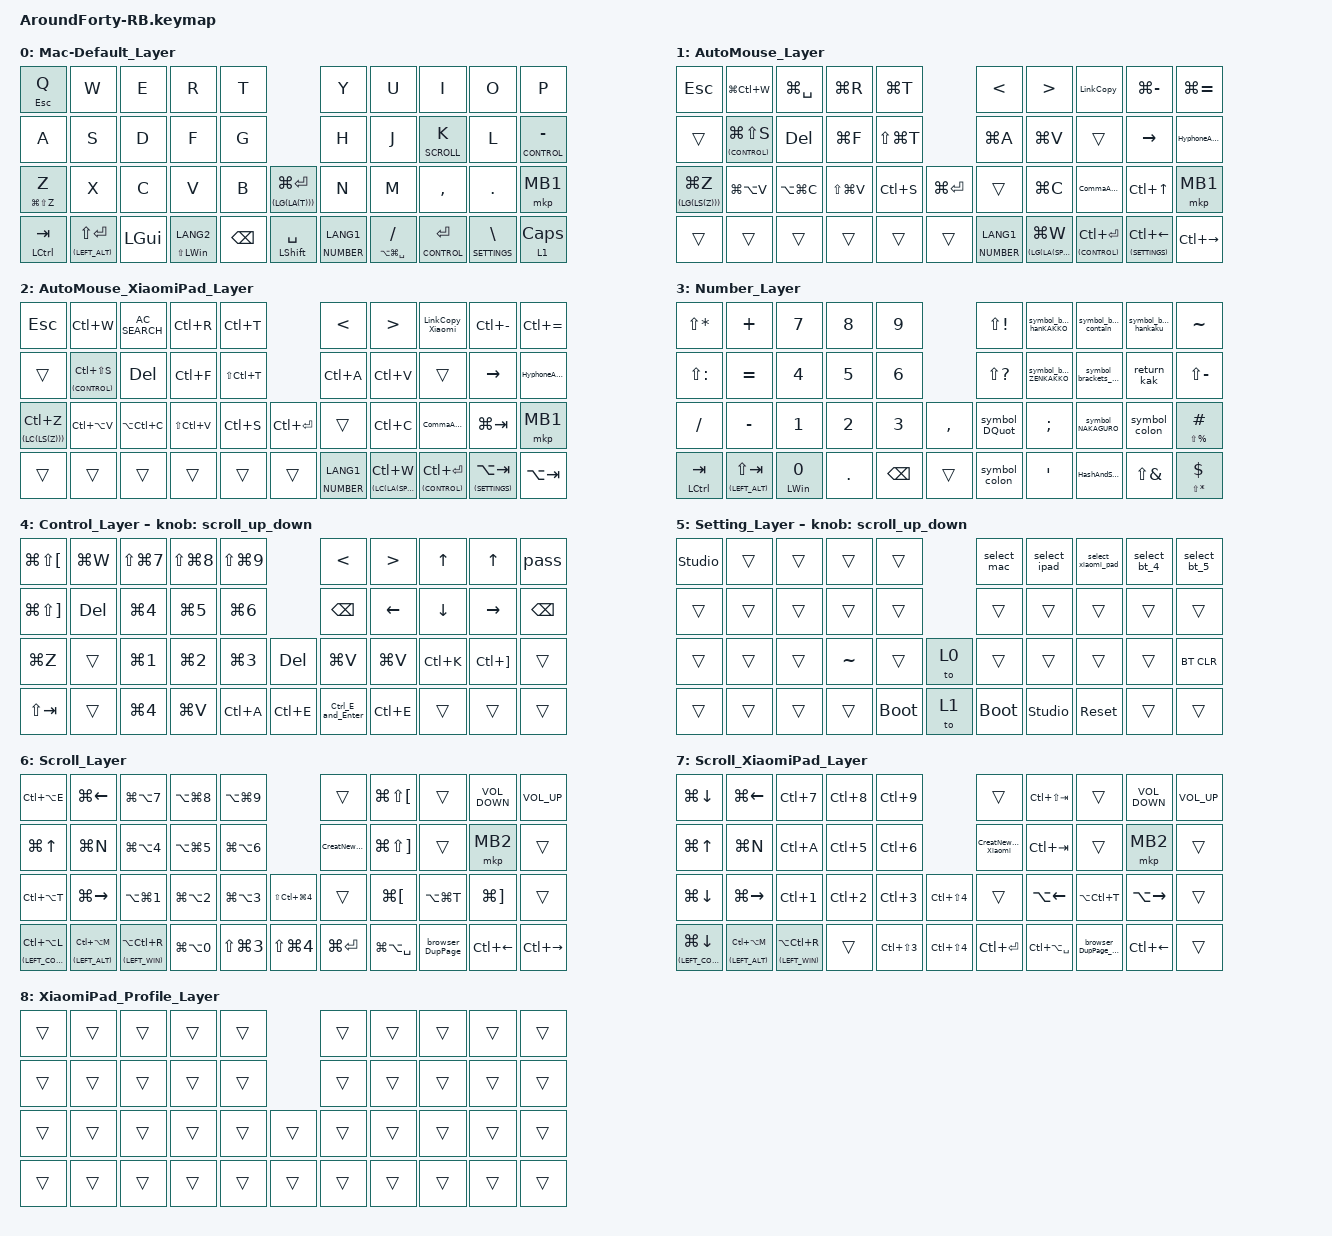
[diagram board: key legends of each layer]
#define ZMK_POINTING_DEFAULT_SCRL_VAL 100
#define MOUSE 6
#define MAC_DEFAULT 0
#define AML 1
#define AML_XIAOMI_PAD 2
#define NUMBER 3
#define CONTROL 4
#define SETTINGS 5
#define SCROLL 6
#define SCROLL_XIAOMI_PAD 7
#define XIAOMI_PAD_PROFILE 8

#include <behaviors/rgbled_widget.dtsi>
#include <dt-bindings/zmk/mouse.h>
#include <behaviors.dtsi>
#include <dt-bindings/zmk/bt.h>
#include <dt-bindings/zmk/keys.h>
#include <dt-bindings/zmk/pointing.h>

&mt {
    flavor = "balanced";
    quick-tap-ms = <0>;
};

/ {
    combos { compatible = "zmk,combos"; };

    conditional_layers {
        compatible = "zmk,conditional-layers";

        xiaomi_pad_aml {
            if-layers = <AML XIAOMI_PAD_PROFILE>;
            then-layer = <AML_XIAOMI_PAD>;
        };

        xiaomi_pad_scroll {
            if-layers = <SCROLL XIAOMI_PAD_PROFILE>;
            then-layer = <SCROLL_XIAOMI_PAD>;
        };
    };

    macros {
        select_mac: select_mac {
            compatible = "zmk,behavior-macro";
            #binding-cells = <0>;
            bindings = <&bt BT_SEL 0 &to MAC_DEFAULT>;
            label = "SELECT_MAC";
        };

        select_ipad: select_ipad {
            compatible = "zmk,behavior-macro";
            #binding-cells = <0>;
            bindings = <&bt BT_SEL 1 &to MAC_DEFAULT>;
            label = "SELECT_IPAD";
        };

        select_xiaomi_pad: select_xiaomi_pad {
            compatible = "zmk,behavior-macro";
            #binding-cells = <0>;
            bindings = <&bt BT_SEL 2 &to XIAOMI_PAD_PROFILE>;
            label = "SELECT_XIAOMI_PAD";
        };

        select_bt_4: select_bt_4 {
            compatible = "zmk,behavior-macro";
            #binding-cells = <0>;
            bindings = <&bt BT_SEL 3 &to MAC_DEFAULT>;
            label = "SELECT_BT_4";
        };

        select_bt_5: select_bt_5 {
            compatible = "zmk,behavior-macro";
            #binding-cells = <0>;
            bindings = <&bt BT_SEL 4 &to MAC_DEFAULT>;
            label = "SELECT_BT_5";
        };

        LinkCopy_Xiaomi: LinkCopy_Xiaomi {
            compatible = "zmk,behavior-macro";
            #binding-cells = <0>;
            bindings = <&kp LC(L) &kp LC(C) &kp ESCAPE>;
            label = "LINKCOPY_XIAOMI";
        };

        CreatNewTab_Xiaomi: CreatNewTab_Xiaomi {
            compatible = "zmk,behavior-macro";
            #binding-cells = <0>;
            bindings = <&kp LC(LA(L)) &kp LC(N) &kp LC(LA(M))>;
            label = "CREATNEWTAB_XIAOMI";
        };

        browser_DupPage_Xiaomi: browser_DupPage_Xiaomi {
            compatible = "zmk,behavior-macro";
            #binding-cells = <0>;
            bindings = <&kp LC(L) &kp LA(ENTER)>;
            label = "BROWSER_DUPPAGE_XIAOMI";
        };

        to_layer_0: to_layer_0 {
            compatible = "zmk,behavior-macro-one-param";
            #binding-cells = <1>;
            bindings = <&to 0 &macro_param_1to1 &kp MACRO_PLACEHOLDER>;
            label = "TO_LAYER_0";
        };

        pass: pass {
            compatible = "zmk,behavior-macro";
            #binding-cells = <0>;
            bindings = <&kp LG(A) &kp S &kp H &kp U &kp C &kp K &kp N1 &kp O &kp M &kp N2 &kp RET>;
            label = "PASS";
        };

        symbol_brackets_KAGI: brackets_KAGI {
            compatible = "zmk,behavior-macro";
            #binding-cells = <0>;
            bindings = <&kp LANGUAGE_1 &kp LEFT_BRACKET &kp RIGHT_BRACKET &kp ENTER &kp LEFT>;
            label = "BRACKETS_KAGI";
        };

        symbol_brackets_contain: brackets_contain {
            compatible = "zmk,behavior-macro";
            #binding-cells = <0>;
            bindings = <&kp LANG2 &kp LBRC &kp RBRC &kp LEFT>;
            label = "BRACKETS_CONTAIN";
        };

        symbol_brackets_ZENKAKKO: brackets_ZENKAKU {
            compatible = "zmk,behavior-macro";
            #binding-cells = <0>;
            bindings = <&kp LANGUAGE_1 &kp LPAR &kp RPAR &kp ENTER &kp LEFT>;
            label = "BRACKETS_ZENKAKU";
        };

        symbol_brackets_hanKAKKO: brackets_hankaku {
            compatible = "zmk,behavior-macro";
            #binding-cells = <0>;
            bindings = <&kp LANG2 &kp LPAR &kp RPAR &kp LEFT>;
            label = "BRACKETS_HANKAKU";
        };

        browser_DupPage: browser_DupPage {
            compatible = "zmk,behavior-macro";
            #binding-cells = <0>;
            bindings = <&kp LG(L) &kp LG(ENTER)>;
            label = "BROWSER_DUPPAGE";
        };

        symbol_DQuot: symbol_DQuot {
            compatible = "zmk,behavior-macro";
            #binding-cells = <0>;
            bindings = <&kp LANG2 &kp DOUBLE_QUOTES &kp DOUBLE_QUOTES &kp LEFT>;
            label = "SYMBOL_DQUOT";
        };

        symbol_NAKAGURO: symbol_NAKAGURO {
            compatible = "zmk,behavior-macro";
            #binding-cells = <0>;
            bindings = <&kp LANG1 &kp SLASH &kp ENTER>;
            label = "SYMBOL_NAKAGURO";
        };

        symbol_colon: symbol_colong {
            compatible = "zmk,behavior-macro";
            #binding-cells = <0>;
            bindings = <&kp LANG1 &kp COLON &kp ENTER>;
            label = "SYMBOL_COLONG";
        };

        LinkCopy: LinkCopy {
            compatible = "zmk,behavior-macro";
            #binding-cells = <0>;
            bindings = <&kp LG(L) &kp LG(C) &kp ESCAPE>;
            label = "LINKCOPY";
        };

        symbol_brackets_hankaku: symbol_backets_hankaku {
            compatible = "zmk,behavior-macro";
            #binding-cells = <0>;
            bindings = <&kp LANG2 &kp LEFT_BRACKET &kp RIGHT_BRACKET &kp LEFT>;
            label = "SYMBOL_BACKETS_HANKAKU";
        };

        symbol_BigKAKKO: symbol_BigKAKKO {
            compatible = "zmk,behavior-macro";
            #binding-cells = <0>;
            bindings = <&kp LANG1 &kp LEFT_BRACKET &kp RIGHT_BRACKET &kp SPACE &kp SPACE &kp RIGHT &kp SPACE &kp ENTER &kp ENTER &kp LEFT>;
            label = "SYMBOL_BIGKAKKO";
        };

        return_kak: return_kak {
            compatible = "zmk,behavior-macro";
            #binding-cells = <0>;
            bindings = <&kp LANG1 &kp K &kp A &kp K &kp SPACE &kp ENTER &kp LEFT>;
            label = "RETURN_KAK";
        };

        HashAndSpace: HashAndSpace {
            compatible = "zmk,behavior-macro";
            #binding-cells = <0>;
            bindings = <&kp LANG2 &kp HASH &kp SPACE>;
            label = "HASHANDSPACE";
        };

        CommaAndSpace: comma_and_space {
            compatible = "zmk,behavior-macro";
            #binding-cells = <0>;
            bindings = <&kp LANG2 &kp COMMA &kp SPACE &kp LANG1>;
            label = "COMMA_AND_SPACE";
        };

        HyphoneAndSpace: HyphoneAndSpace {
            compatible = "zmk,behavior-macro";
            #binding-cells = <0>;
            bindings = <&kp LANG2 &kp MINUS &kp SPACE>;
            label = "HYPHONEANDSPACE";
        };

        Ctrl_E_and_Enter: Ctrl_E_and_Enter {
            compatible = "zmk,behavior-macro";
            #binding-cells = <0>;
            bindings = <&kp LC(E) &kp ENTER>;
            label = "CTRL_E_AND_ENTER";
        };

        CreatNewTab: CreatNewTab {
            compatible = "zmk,behavior-macro";
            #binding-cells = <0>;
            bindings = <&kp LC(LA(L)) &kp LG(N) &kp LC(LA(M))>;
            label = "CREATNEWTAB";
        };
    };

    behaviors {
        lt_to_layer_0: lt_to_layer_0 {
            compatible = "zmk,behavior-hold-tap";
            label = "LAYER_TAP_TO_0";
            bindings = <&mo>, <&to_layer_0>;

            #binding-cells = <2>;
            tapping-term-ms = <200>;
        };

        scroll_up_down: behavior_sensor_rotate_mouse_wheel_up_down {
            compatible = "zmk,behavior-sensor-rotate";
            #sensor-binding-cells = <0>;
            bindings = <&msc SCRL_UP>, <&msc SCRL_DOWN>;

            tap-ms = <20>;
        };
    };

    keymap {
        compatible = "zmk,keymap";

        Mac-Default_Layer {
            bindings = <
&mt ESCAPE Q     &kp W                     &kp E         &kp R                   &kp T                                     &kp Y             &kp U                    &kp I              &kp O                   &kp P
&kp A            &kp S                     &kp D         &kp F                   &kp G                                     &kp H             &kp J                    &lt SCROLL K       &kp L                   &lt CONTROL MINUS
&mt LG(LS(Z)) Z  &kp X                     &kp C         &kp V                   &kp B          &mt (LG(LA(T))) LG(ENTER)  &kp N             &kp M                    &kp COMMA          &kp PERIOD              &mkp MB1
&mt LCTRL TAB    &mt (LEFT_ALT) LS(ENTER)  &kp LEFT_GUI  &mt LS(LEFT_WIN) LANG2  &kp BACKSPACE  &mt LEFT_SHIFT SPACE       &lt NUMBER LANG1  &mt LA(LG(SPACE)) SLASH  &lt CONTROL ENTER  &lt SETTINGS BACKSLASH  &lt 1 CAPSLOCK
            >;
        };

        AutoMouse_Layer {
            bindings = <
&kp ESCAPE             &kp LG(LC(W))            &kp LG(SPACE)  &kp LG(R)      &kp LG(T)                     &kp LESS_THAN     &kp GREATER_THAN           &LinkCopy                &kp LG(MINUS)            &kp LG(EQUAL)
&trans                 &lt (CONTROL) LG(LS(S))  &kp DELETE     &kp LG(F)      &kp LS(LG(T))                 &kp LG(A)         &kp LG(V)                  &trans                   &kp RIGHT                &HyphoneAndSpace
&mt (LG(LS(Z))) LG(Z)  &kp LG(LA(V))            &kp LA(LG(C))  &kp LS(LG(V))  &kp LC(S)      &kp LG(ENTER)  &trans            &kp LG(C)                  &CommaAndSpace           &kp LC(UP)               &mkp MB1
&trans                 &trans                   &trans         &trans         &trans         &trans         &lt NUMBER LANG1  &mt (LG(LA(SPACE))) LG(W)  &lt (CONTROL) LC(ENTER)  &lt (SETTINGS) LC(LEFT)  &kp LC(RIGHT)
            >;
        };

        AutoMouse_XiaomiPad_Layer {
            bindings = <
&kp ESCAPE             &kp LC(W)                &kp C_AC_SEARCH  &kp LC(R)      &kp LC(T)                     &kp LESS_THAN     &kp GREATER_THAN           &LinkCopy_Xiaomi         &kp LC(MINUS)           &kp LC(EQUAL)
&trans                 &lt (CONTROL) LC(LS(S))  &kp DELETE       &kp LC(F)      &kp LS(LC(T))                 &kp LC(A)         &kp LC(V)                  &trans                   &kp RIGHT               &HyphoneAndSpace
&mt (LC(LS(Z))) LC(Z)  &kp LC(LA(V))            &kp LA(LC(C))    &kp LS(LC(V))  &kp LC(S)      &kp LC(ENTER)  &trans            &kp LC(C)                  &CommaAndSpace           &kp LG(TAB)             &mkp MB1
&trans                 &trans                   &trans           &trans         &trans         &trans         &lt NUMBER LANG1  &mt (LC(LA(SPACE))) LC(W)  &lt (CONTROL) LC(ENTER)  &lt (SETTINGS) LA(TAB)  &kp LA(TAB)
            >;
        };

        Number_Layer {
            bindings = <
&kp LS(STAR)          &kp PLUS                &kp N7           &kp N8   &kp N9                    &kp LS(EXCL)   &symbol_brackets_hanKAKKO  &symbol_brackets_contain  &symbol_brackets_hankaku  &kp TILDE
&kp LS(COLON)         &kp EQUAL               &kp N4           &kp N5   &kp N6                    &kp LS(QMARK)  &symbol_brackets_ZENKAKKO  &symbol_brackets_KAGI     &return_kak               &kp LS(MINUS)
&kp FSLH              &kp MINUS               &kp N1           &kp N2   &kp N3         &kp COMMA  &symbol_DQuot  &kp SEMICOLON              &symbol_NAKAGURO          &symbol_colon             &mt LS(PERCENT) HASH
&mt LEFT_CONTROL TAB  &mt (LEFT_ALT) LS(TAB)  &mt LEFT_WIN N0  &kp DOT  &kp BACKSPACE  &trans     &symbol_colon  &kp SQT                    &HashAndSpace             &kp LS(AMPERSAND)         &mt LS(ASTRK) DOLLAR
            >;
        };

        Control_Layer {
            bindings = <
&kp LG(LS(LEFT_BRACKET))   &kp LG(W)   &kp LS(LG(N7))    &kp LS(LG(N8))  &kp LS(LG(N9))              &kp LESS_THAN      &kp GREATER_THAN  &kp UP     &kp UP                 &pass
&kp LG(LS(RIGHT_BRACKET))  &kp DELETE  &kp LG(NUMBER_4)  &kp LG(N5)      &kp LG(N6)                  &kp BACKSPACE      &kp LEFT          &kp DOWN   &kp RIGHT              &kp BACKSPACE
&kp LG(Z)                  &trans      &kp LG(N1)        &kp LG(N2)      &kp LG(N3)      &kp DELETE  &kp LG(V)          &kp LG(V)         &kp LC(K)  &kp LC(RIGHT_BRACKET)  &trans
&kp LS(TAB)                &trans      &kp LG(N4)        &kp LG(V)       &kp LC(A)       &kp LC(E)   &Ctrl_E_and_Enter  &kp LC(E)         &trans     &trans                 &trans
            >;

            sensor-bindings = <&scroll_up_down>;
        };

        Setting_Layer {
            bindings = <
&studio_unlock  &trans  &trans  &trans     &trans              &select_mac  &select_ipad    &select_xiaomi_pad  &select_bt_4  &select_bt_5
&trans          &trans  &trans  &trans     &trans              &trans       &trans          &trans              &trans        &trans
&trans          &trans  &trans  &kp TILDE  &trans       &to 0  &trans       &trans          &trans              &trans        &bt BT_CLR
&trans          &trans  &trans  &trans     &bootloader  &to 1  &bootloader  &studio_unlock  &sys_reset          &trans        &trans
            >;

            sensor-bindings = <&scroll_up_down>;
        };

        Scroll_Layer {
            bindings = <
&kp LC(LA(E))                 &kp LG(LEFT)              &kp LG(LA(N7))            &kp LA(LG(N8))        &kp LA(LG(NUMBER_9))                            &trans         &kp LG(LS(LEFT_BRACKET))   &trans            &kp C_VOLUME_DOWN  &kp C_VOLUME_UP
&kp LG(UP_ARROW)              &kp LG(N)                 &kp LG(LA(N4))            &kp LA(LG(N5))        &kp LG(LA(N6))                                  &CreatNewTab   &kp LG(LS(RIGHT_BRACKET))  &trans            &mkp MB2           &trans
&kp LC(LA(T))                 &kp LG(RIGHT)             &kp LA(LG(NUMBER_1))      &kp LG(LA(N2))        &kp LG(LA(N3))        &kp LS(LC(LG(NUMBER_4)))  &trans         &kp LG(LBKT)               &kp LA(LG(T))     &kp LG(RBKT)       &trans
&mt (LEFT_CONTROL) LC(LA(L))  &mt (LEFT_ALT) LC(LA(M))  &mt (LEFT_WIN) LA(LC(R))  &kp LG(LA(NUMBER_0))  &kp LS(LG(NUMBER_3))  &kp LS(LG(NUMBER_4))      &kp LG(ENTER)  &kp LG(LA(SPACE))          &browser_DupPage  &kp LC(LEFT)       &kp LC(RIGHT)
            >;
        };

        Scroll_XiaomiPad_Layer {
            bindings = <
&kp LG(DOWN)                 &kp LG(LEFT)              &kp LC(N7)                &kp LC(N8)  &kp LC(N9)                      &trans               &kp LC(LS(TAB))    &trans                   &kp K_VOLUME_DOWN  &kp K_VOLUME_UP
&kp LG(UP)                   &kp LG(N)                 &kp LC(A)                 &kp LC(N5)  &kp LC(N6)                      &CreatNewTab_Xiaomi  &kp LC(TAB)        &trans                   &mkp MB2           &trans
&kp LG(DOWN)                 &kp LG(RIGHT)             &kp LC(N1)                &kp LC(N2)  &kp LC(N3)      &kp LC(LS(N4))  &trans               &kp LA(LEFT)       &kp LA(LC(T))            &kp LA(RIGHT)      &trans
&mt (LEFT_CONTROL) LG(DOWN)  &mt (LEFT_ALT) LC(LA(M))  &mt (LEFT_WIN) LA(LC(R))  &trans      &kp LC(LS(N3))  &kp LC(LS(N4))  &kp LC(ENTER)        &kp LC(LA(SPACE))  &browser_DupPage_Xiaomi  &kp LC(LEFT)       &trans
            >;
        };

        XiaomiPad_Profile_Layer {
            bindings = <
&trans  &trans  &trans  &trans  &trans          &trans  &trans  &trans  &trans  &trans
&trans  &trans  &trans  &trans  &trans          &trans  &trans  &trans  &trans  &trans
&trans  &trans  &trans  &trans  &trans  &trans  &trans  &trans  &trans  &trans  &trans
&trans  &trans  &trans  &trans  &trans  &trans  &trans  &trans  &trans  &trans  &trans
            >;
        };
    };
};
